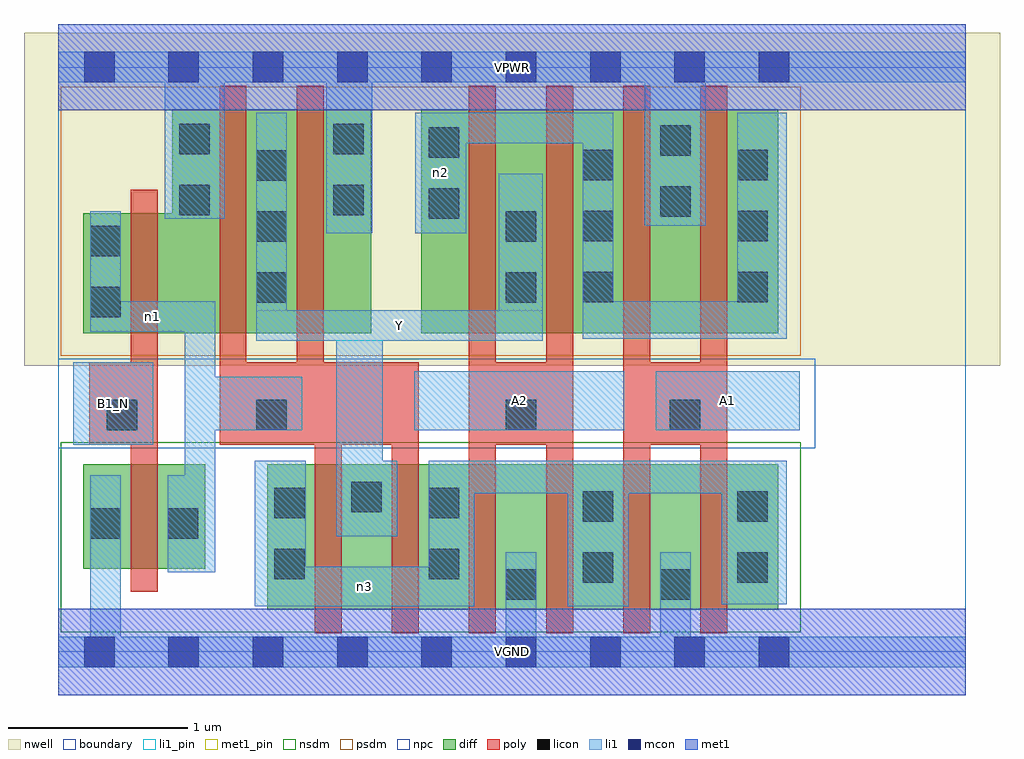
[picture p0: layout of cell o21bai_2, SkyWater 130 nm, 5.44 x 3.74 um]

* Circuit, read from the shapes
.subckt o21bai_2 A1 A2 B1_N VGND VPWR Y n1 n2 n3
XM1 n1 B1_N VGND VSUBS sky130_fd_pr__nfet_01v8 w=0.58 l=0.15
XM2 Y n1 n3 VSUBS sky130_fd_pr__nfet_01v8 w=0.81 l=0.15 m=2
XM3 VGND A2 n3 VSUBS sky130_fd_pr__nfet_01v8 w=0.81 l=0.15 m=2
XM4 VGND A1 n3 VSUBS sky130_fd_pr__nfet_01v8 w=0.81 l=0.15 m=2
XM5 VPWR B1_N n1 n4 sky130_fd_pr__pfet_01v8 w=0.67 l=0.15
XM6 Y n1 VPWR n4 sky130_fd_pr__pfet_01v8 w=1.25 l=0.15 m=2
XM7 Y A2 n2 n4 sky130_fd_pr__pfet_01v8 w=1.25 l=0.15 m=2
XM8 VPWR A1 n2 n4 sky130_fd_pr__pfet_01v8 w=1.25 l=0.15 m=2
.ends

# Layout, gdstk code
import gdstk
lib = gdstk.Library(unit=1e-6, precision=1e-09)
def R(c, l, rs):  # rectangles x0, y0, x1, y1
    for r in rs: c.add(gdstk.rectangle(r[:2], r[2:], *l))
def A(c, l, x, y, w, h, nx, ny, dx, dy):  # array of equal rectangles
    R(c, l, [(x+i*dx, y+j*dy, x+i*dx+w, y+j*dy+h) for i in range(nx) for j in range(ny)])
nwell = (64, 20)
diff = (65, 20)
poly = (66, 20)
licon = (66, 44)
li1_pin = (67, 16)
li1 = (67, 20)
mcon = (67, 44)
met1_pin = (68, 16)
met1 = (68, 20)
nsdm = (93, 44)
psdm = (94, 20)
npc = (95, 20)
boundary = (235, 4)

o21bai_2 = lib.new_cell('o21bai_2')
R(o21bai_2, nwell, [(-0.19,1.595,5.25,3.45), (0,1.595,5.06,3.45)])
R(o21bai_2, diff, [(1.165,0.235,4.015,1.045), (0.14,0.465,0.82,1.045), (0.14,1.775,1.745,2.445), (0.635,1.775,1.745,3.025), (2.025,1.775,4.015,3.025)])
A(o21bai_2, poly, 2.29, 0.105, 0.15, 3.05, 4, 1, 0.43, 0)
R(o21bai_2, poly, [(1.43,0.105,1.58,1.615), (1.86,0.105,2.01,1.615), (0.405,0.335,0.555,2.575), (0.175,1.155,0.555,1.615), (0.9,1.155,2.01,1.615), (0.9,1.155,1.05,3.155), (1.33,1.155,1.48,3.155), (2.29,1.155,2.87,1.615), (3.15,1.155,3.73,1.615)])
A(o21bai_2, licon, 1.105, 1.945, 0.17, 0.17, 1, 3, 0, 0.34)
A(o21bai_2, licon, 2.925, 1.95, 0.17, 0.17, 1, 3, 0, 0.34)
A(o21bai_2, licon, 3.785, 1.95, 0.17, 0.17, 1, 3, 0, 0.34)
R(o21bai_2, licon, [(2.495,0.29,2.665,0.46), (3.355,0.29,3.525,0.46), (2.925,0.385,3.095,0.555), (3.785,0.385,3.955,0.555), (1.205,0.405,1.375,0.575), (2.065,0.405,2.235,0.575), (0.18,0.63,0.35,0.8), (0.61,0.63,0.78,0.8), (2.925,0.725,3.095,0.895), (3.785,0.725,3.955,0.895), (1.205,0.745,1.375,0.915), (2.065,0.745,2.235,0.915), (1.635,0.78,1.805,0.95), (0.27,1.235,0.44,1.405), (1.105,1.235,1.275,1.405), (2.495,1.235,2.665,1.405), (3.41,1.235,3.58,1.405), (0.18,1.865,0.35,2.035), (2.495,1.945,2.665,2.115), (0.18,2.205,0.35,2.375), (2.495,2.285,2.665,2.455), (2.065,2.415,2.235,2.585), (3.355,2.425,3.525,2.595), (0.675,2.435,0.845,2.605), (1.535,2.435,1.705,2.605), (2.065,2.755,2.235,2.925), (3.355,2.765,3.525,2.935), (0.675,2.775,0.845,2.945), (1.535,2.775,1.705,2.945)])
R(o21bai_2, li1_pin, [(0.085,1.155,0.53,1.615), (1.985,1.235,3.155,1.565), (3.33,1.235,4.135,1.565), (1.105,1.735,2.7,1.905)])
R(o21bai_2, li1, [(0,-0.085,5.06,0.085), (0.18,-0.085,0.35,0.985), (2.495,-0.085,2.665,0.555), (3.355,-0.085,3.525,0.555), (1.095,0.255,2.32,0.475), (1.095,0.255,1.38,1.065), (2.065,0.255,2.32,1.065), (2.84,0.255,3.18,1.065), (3.7,0.265,4.06,1.065), (0.61,0.445,0.875,0.985), (0.705,0.445,0.875,1.955), (1.55,0.645,1.81,1.905), (1.55,0.645,1.89,1.065), (2.065,0.885,4.06,1.065), (0.085,1.155,0.53,1.615), (0.705,1.235,1.36,1.535), (1.985,1.235,3.155,1.565), (3.33,1.235,4.135,1.565), (1.105,1.735,2.7,1.905), (1.105,1.735,1.275,3.005), (2.455,1.735,2.7,2.665), (2.925,1.745,4.06,1.955), (2.925,1.745,3.095,3.005), (3.785,1.745,4.06,3.005), (0.18,1.785,0.875,1.955), (0.18,1.785,0.35,2.455), (1.495,2.335,1.75,3.345), (1.99,2.335,2.275,3.005), (3.27,2.375,3.61,3.345), (0.595,2.415,0.93,3.345), (1.99,2.835,3.095,3.005), (0,3.175,5.06,3.345)])
A(o21bai_2, mcon, 0.145, -0.085, 0.17, 0.17, 9, 2, 0.47, 3.26)
R(o21bai_2, met1_pin, [(0,-0.24,5.06,0.24), (0,3.02,5.06,3.5)])
R(o21bai_2, met1, [(0,-0.24,5.06,0.24), (0,3.02,5.06,3.5)])
R(o21bai_2, nsdm, [(0.015,0.11,4.14,1.17)])
R(o21bai_2, psdm, [(0.015,1.65,4.14,3.15)])
R(o21bai_2, npc, [(0,1.135,4.22,1.635)])
R(o21bai_2, boundary, [(0,0,5.06,3.26)])
o21bai_2.add(gdstk.Label('A1', (3.732,1.4), layer=67, texttype=5))
o21bai_2.add(gdstk.Label('A2', (2.57,1.4), layer=67, texttype=5))
o21bai_2.add(gdstk.Label('B1_N', (0.307,1.385), layer=67, texttype=5))
o21bai_2.add(gdstk.Label('Y', (1.902,1.82), layer=67, texttype=5))
o21bai_2.add(gdstk.Label('n3', (1.707,0.365), layer=67, texttype=5))
o21bai_2.add(gdstk.Label('n1', (0.527,1.87), layer=67, texttype=5))
o21bai_2.add(gdstk.Label('n2', (2.132,2.67), layer=67, texttype=5))
o21bai_2.add(gdstk.Label('VPWR', (2.53,3.26), layer=68, texttype=5))
o21bai_2.add(gdstk.Label('VGND', (2.53,0), layer=68, texttype=5))
o21bai_2.add(gdstk.Label('A1', (3.732,1.4), layer=67, texttype=16))
o21bai_2.add(gdstk.Label('A2', (2.57,1.4), layer=67, texttype=16))
o21bai_2.add(gdstk.Label('B1_N', (0.307,1.385), layer=67, texttype=16))
o21bai_2.add(gdstk.Label('Y', (1.902,1.82), layer=67, texttype=16))
o21bai_2.add(gdstk.Label('VPWR', (2.53,3.26), layer=68, texttype=16))
o21bai_2.add(gdstk.Label('VGND', (2.53,0), layer=68, texttype=16))

lib.write_gds('o21bai_2.gds')
